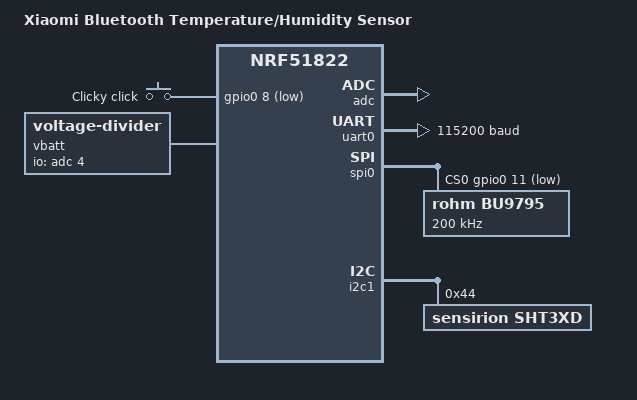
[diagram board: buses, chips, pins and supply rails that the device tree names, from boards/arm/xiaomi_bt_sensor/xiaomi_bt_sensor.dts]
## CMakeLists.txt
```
# SPDX-License-Identifier: Apache-2.0

cmake_minimum_required(VERSION 3.13.1)

# Must define custom board before including boilerplate
set(BOARD_ROOT ${CMAKE_CURRENT_LIST_DIR})
set(BOARD xiaomi_bt_sensor)

find_package(Zephyr REQUIRED HINTS $ENV{ZEPHYR_BASE})

project(xiaomi_bt_sensor_alternative_firmware)

#list(APPEND ZEPHYR_EXTRA_MODULES
#  ${CMAKE_CURRENT_SOURCE_DIR}/drivers/BU9795
#  )

#list(APPEND SYSCALL_INCLUDE_DIRS
#  ${CMAKE_CURRENT_SOURCE_DIR}/drivers/BU9795/zephyr
#  )

# Because our out of tree driver has it's own bindings, we need to include it in the DTS_ROOT
#list(APPEND DTS_ROOT
#  ${CMAKE_CURRENT_SOURCE_DIR}/drivers/BU9795/zephyr)

FILE(GLOB app_sources src/*.c)
target_sources(app PRIVATE ${app_sources})
```

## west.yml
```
manifest:
  remotes:
    - name: zephyrproject-rtos
      url-base: https://github.com/zephyrproject-rtos

  projects:
    - name: zephyr
      remote: zephyrproject-rtos
      revision: v3.5.0
      import: true

  self:
    path: app
```

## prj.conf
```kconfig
# Enable C++ support
CONFIG_CPP=y
CONFIG_STD_CPP17=y

CONFIG_LOG=n

CONFIG_BT=y
CONFIG_BT_PERIPHERAL=n
CONFIG_BT_OBSERVER=y
CONFIG_BT_DEVICE_NAME="BTHome template"


CONFIG_ADC=y

CONFIG_THREAD_LOCAL_STORAGE=y

CONFIG_BOOT_BANNER=n

CONFIG_COMMON_LIBC_MALLOC=y
CONFIG_COMMON_LIBC_MALLOC_ARENA_SIZE=-1
```

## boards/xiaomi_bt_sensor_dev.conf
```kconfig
CONFIG_SOC_NRF51822_QFAA=y
CONFIG_SOC_NRF51822_QFAC=n
```

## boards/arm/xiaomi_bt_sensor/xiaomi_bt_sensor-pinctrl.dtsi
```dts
/*
 * Copyright (c) 2022 Nordic Semiconductor
 * SPDX-License-Identifier: Apache-2.0
 */

&pinctrl {
	i2c1_default: i2c1_default {
		group1 {
			psels = <NRF_PSEL(TWIM_SDA, 0, 13)>,
					<NRF_PSEL(TWIM_SCL, 0, 12)>;
		};
	};

	i2c1_sleep: i2c1_sleep {
		group1 {
			psels = <NRF_PSEL(TWIM_SDA, 0, 13)>,
					<NRF_PSEL(TWIM_SCL, 0, 12)>;
			low-power-enable;
		};
	};

	spi0_default: spi0_default {
		group1 {
			psels = <NRF_PSEL(SPIM_SCK, 0, 10)>,
			        <NRF_PSEL(SPIM_MOSI, 0, 9)>,
			        <NRF_PSEL(SPIM_MISO, 0, 7)>;
		};
	};

	spi0_sleep: spi0_sleep {
		group1 {
			psels = <NRF_PSEL(SPIM_SCK, 0, 10)>,
			        <NRF_PSEL(SPIM_MOSI, 0, 9)>,
			        <NRF_PSEL(SPIM_MISO, 0, 7)>;
			low-power-enable;
		};
	};

	uart0_default: uart0_default {
		group1 {
			psels = <NRF_PSEL(UART_TX, 0, 28)>,
			        <NRF_PSEL(UART_RX, 0, 29)>,
			        <NRF_PSEL(UART_RTS, 0, 26)>,
			        <NRF_PSEL(UART_CTS, 0, 27)>;
		};
	};

	uart0_sleep: uart0_sleep {
		group1 {
			psels = <NRF_PSEL(UART_TX, 0, 28)>,
			        <NRF_PSEL(UART_RX, 0, 29)>,
			        <NRF_PSEL(UART_RTS, 0, 26)>,
			        <NRF_PSEL(UART_CTS, 0, 27)>;
			low-power-enable;
		};
	};

};
```

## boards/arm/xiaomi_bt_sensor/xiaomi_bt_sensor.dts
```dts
/*
 * Copyright (c) 2017 VNG IoT Lab Limited
 *
 * SPDX-License-Identifier: Apache-2.0
 */

/dts-v1/;
#include <nordic/nrf51822_qfaa.dtsi>
#include "xiaomi_bt_sensor-pinctrl.dtsi"
#include <zephyr/dt-bindings/input/input-event-codes.h>

/ {
	model = "Xiaomi Bluetooth Temperature/Humidity Sensor";
	compatible = "nordic,nrf51822-qfaa", "nordic,nrf51822";

	chosen {
		zephyr,console = &uart0;
		zephyr,shell-uart = &uart0;
		zephyr,uart-mcumgr = &uart0;
		zephyr,sram = &sram0;
		zephyr,flash = &flash0;
	};

	aliases {
		sw0 = &button0;
		segment0 = &segment0;
		sensor0 = &sensor0;
		vbatt = &vbatt;
	};

	buttons {
		compatible = "gpio-keys";
		button0: button_0 {
			gpios = <&gpio0 8 (GPIO_ACTIVE_LOW | GPIO_PULL_UP)>;
			label = "Clicky click";
			zephyr,code = <INPUT_KEY_0>;
		};
	};

	vbatt: vbatt {
		compatible = "voltage-divider";
		io-channels = <&adc 4>;
		output-ohms = <180000>;
		full-ohms = <(180000 + 180000)>;
	};
};

&adc {
	status = "okay";
};

&gpiote {
	status = "okay";
};

&gpio0 {
	status = "okay";
};

&uart0 {
	current-speed = <115200>;
	status = "okay";
	pinctrl-0 = <&uart0_default>;
	pinctrl-1 = <&uart0_sleep>;
	pinctrl-names = "default", "sleep";
};

&spi0 {
	compatible = "nordic,nrf-spi";
	status = "okay";
	cs-gpios = <&gpio0 11 GPIO_ACTIVE_LOW>;
	pinctrl-0 = <&spi0_default>;
	pinctrl-1 = <&spi0_sleep>;
	pinctrl-names = "default", "sleep";

	segment0: segment@0 {
		compatible = "rohm,bu9795";
		status = "okay";
		spi-max-frequency = <200000>;
		label = "BU9795";
		reg = <0>;
	};
};

&i2c1 {
	status = "okay";
	/* smba-pin = <2>; */
	pinctrl-0 = <&i2c1_default>;
	pinctrl-1 = <&i2c1_sleep>;
	pinctrl-names = "default", "sleep";

	sensor0: sht3xd@44 {
		compatible = "sensirion,sht3xd";
		status = "okay";
		label = "SHT3XD";
		reg = <0x44>;
	};
};

&flash0 {
	/*
	 * For more information, see:
	 * http: //docs.zephyrproject.org/latest/guides/dts/index.html#flash-partitions
	 */
	partitions {
		compatible = "fixed-partitions";
		#address-cells = <1>;
		#size-cells = <1>;

		boot_partition: partition@0 {
			label = "mcuboot";
			reg = <0x00000000 0x8000>;
		};
		slot0_partition: partition@8000 {
			label = "image-0";
			reg = <0x00008000 0x1a000>;
		};
		slot1_partition: partition@22000 {
			label = "image-1";
			reg = <0x00022000 0x1a000>;
		};
		scratch_partition: partition@3c000 {
			label = "image-scratch";
			reg = <0x0003c000 0x2000>;
		};
		storage_partition: partition@3e000 {
			label = "storage";
			reg = <0x0003e000 0x00002000>;
		};
	};
};
```

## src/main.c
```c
/* main.c - Application main entry point */

#include <stdio.h>

#include <zephyr/bluetooth/bluetooth.h>
#include <zephyr/device.h>
#include <zephyr/drivers/gpio.h>
#include <zephyr/drivers/sensor.h>
#include <zephyr/kernel.h>
#include <zephyr/sys/printk.h>

#include <zephyr/logging/log.h>
LOG_MODULE_REGISTER(main, LOG_LEVEL_DBG);

// #include "battery.h"
// #include "bluetooth.h"
// #include "display.h"
#include "sensor.h"

static bool allow_bonding = false;

/*
 * Get button configuration from the devicetree sw0 alias. This is mandatory.
 */
#define SW0_NODE DT_ALIAS(sw0)
#if !DT_NODE_HAS_STATUS(SW0_NODE, okay)
#error "Unsupported board: sw0 devicetree alias is not defined"
#endif
static const struct gpio_dt_spec button = GPIO_DT_SPEC_GET_OR(SW0_NODE, gpios,
                                                              {0});
static struct gpio_callback button_cb_data;

void button_pressed(struct device *dev, struct gpio_callback *cb, uint32_t pins)
{
    LOG_INF("Button pressed at %" PRIu32, k_cycle_get_32());
    allow_bonding = true;
}

void main(void)
{
    int ret;
    bool bluetooth_enabled = false;
    uint32_t loop_count = 0;

    LOG_INF("Hello world!");

    if (!gpio_is_ready_dt(&button))
    {
        LOG_ERR("Didn't find %s device", button.port->name);
        return;
    }
    ret = gpio_pin_configure_dt(&button, GPIO_INPUT);
    if (ret != 0)
    {
        LOG_ERR("Failed to configure pin %d '%s' (Error %d)", button.pin, button.port->name, ret);
        return;
    }

    ret = gpio_pin_interrupt_configure_dt(&button, GPIO_INT_EDGE_TO_ACTIVE);
    if (ret != 0)
    {
        LOG_ERR("Failed to configure interrupt on pin %d '%s' (Error %d)", button.pin, button.port->name, ret);
        return;
    }

    gpio_init_callback(&button_cb_data, button_pressed, BIT(button.pin));
    gpio_add_callback(button.port, &button_cb_data);

    ret = bt_enable(NULL);
    if (ret != 0)
    {
        LOG_ERR("Bluetooth init failed (Error %d)", ret);
    }
    else
    {
        // bluetooth_ready();
        bluetooth_enabled = true;
    }

    LOG_INF("Press %s on the board", button.port->name);

    struct sensor_value temp, hum;

    // display_set_symbols(DISPLAY_SYMBOL_HORIZONTAL_RULE);

    while (1)
    {
        if (bluetooth_enabled)
        {
            if (allow_bonding)
            {
                // bluetooth_set_bonding(true);
                allow_bonding = false;
            }

            /* if (bluetooth_get_bonding() && (loop_count % 2 == 0))
             {
                 // display_clear_symbols(DISPLAY_SYMBOL_BLUETOOTH);
             }
             else
             {
                 // display_set_symbols(DISPLAY_SYMBOL_BLUETOOTH);
             }*/
        }
        /* int batt_mV = battery_sample();

         if (batt_mV >= 0)
         {
             int batt_pptt = battery_level_pptt(batt_mV, alkaline_level_point) / 100;
             LOG_INF("Battery: %d%% (%d.%03dV)", batt_pptt, batt_mV / 1000, batt_mV % 1000);

             display_set_battery(batt_pptt);
             bluetooth_update_battery(batt_pptt);
         }
         else
         {
             LOG_ERR("Failed to read battery voltage: %d", batt_mV);
         }

         if (update_sensor(&temp, &hum) == 0)
         {
             LOG_INF("Sensor: %d.%d°C, %d.%d%%RH",
                     temp.val1, temp.val2 / 100000,
                     hum.val1, hum.val2 / 100000);

             display_set_symbols(DISPLAY_SYMBOL_CELSIUS | DISPLAY_SYMBOL_HUMIDITY);
             display_set_temperature(&temp);
             display_set_humidity(&hum);

             bluetooth_update_temperature((temp.val1 * 100) + (temp.val2 / 10000));
             bluetooth_update_humidity((hum.val1 * 100) + (hum.val2 / 10000));
         }*/

        k_msleep(1000);
        loop_count++;
    }
}
```

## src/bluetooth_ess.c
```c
#include <errno.h>
#include <stddef.h>
#include <string.h>
#include <sys/byteorder.h>
#include <sys/printk.h>
#include <zephyr.h>
#include <zephyr/types.h>

#include <bluetooth/bluetooth.h>
#include <bluetooth/conn.h>
#include <bluetooth/gatt.h>
#include <bluetooth/hci.h>
#include <bluetooth/services/bas.h>
#include <bluetooth/uuid.h>

#include <logging/log.h>
LOG_MODULE_REGISTER(bluetooth_ess_service, LOG_LEVEL_INF);

// ESS error definitions
#define ESS_ERR_WRITE_REJECT 0x80
#define ESS_ERR_COND_NOT_SUPP 0x81

// ESS Trigger Setting conditions
#define ESS_TRIGGER_INACTIVE 0x00
#define ESS_FIXED_TIME_INTERVAL 0x01
#define ESS_NO_LESS_THAN_SPECIFIED_TIME 0x02
#define ESS_VALUE_CHANGED 0x03
#define ESS_LESS_THAN_REF_VALUE 0x04
#define ESS_LESS_OR_EQUAL_TO_REF_VALUE 0x05
#define ESS_GREATER_THAN_REF_VALUE 0x06
#define ESS_GREATER_OR_EQUAL_TO_REF_VALUE 0x07
#define ESS_EQUAL_TO_REF_VALUE 0x08
#define ESS_NOT_EQUAL_TO_REF_VALUE 0x09

#define ESS_MEASUREMENT_FLAG_NOTIFY_MEASUREMENT BIT(1)

extern struct bt_conn *default_conn;

struct es_measurement
{
    // Reserved for Future Use
    uint16_t flags;
    uint8_t sampling_func;
    uint32_t meas_period;
    uint32_t update_interval;
    uint8_t application;
    uint8_t meas_uncertainty;
};

struct ess_sensor
{
    int16_t value;

    // Valid Range
    int16_t lower_limit;
    int16_t upper_limit;

    // ES trigger setting - Value Notification condition
    uint8_t condition;
    uint16_t ccc;
    union
    {
        uint32_t seconds;
        // Reference temperature
        int16_t ref_val;
    };

    struct es_measurement meas;
};

#define SENSOR_TEMPERATURE_NAME "Temperature"

static struct ess_sensor sensor_temp = {
    .value = 1200,
    .lower_limit = 0,
    .upper_limit = 6500,
    .condition = ESS_VALUE_CHANGED,
    .meas.sampling_func = 0x01,
    .meas.meas_period = 0x00,
    .meas.update_interval = 1,
    .meas.application = 0x01,
    .meas.meas_uncertainty = 0x01,
};

#define SENSOR_Humidity_NAME "Humidity"

static struct ess_sensor sensor_humid = {
    .value = 5000,
    .lower_limit = 0,
    .upper_limit = 10000,
    .condition = ESS_VALUE_CHANGED,
    .meas.sampling_func = 0x01,
    .meas.meas_period = 0x00,
    .meas.update_interval = 1,
    .meas.application = 0x01,
    .meas.meas_uncertainty = 0x01,
};

static ssize_t read_u16(struct bt_conn *conn, const struct bt_gatt_attr *attr, void *buf, uint16_t len, uint16_t offset)
{
    const uint16_t *u16 = attr->user_data;
    uint16_t value = sys_cpu_to_le16(*u16);

    return bt_gatt_attr_read(conn, attr, buf, len, offset, &value, sizeof(value));
}

static void humid_ccc_cfg_changed(const struct bt_gatt_attr *attr, uint16_t value)
{
    sensor_humid.ccc = value;
}
static void temp_ccc_cfg_changed(const struct bt_gatt_attr *attr, uint16_t value)
{
    sensor_temp.ccc = value;
}

struct read_es_measurement_rp
{
    // Reserved for Future Use
    uint16_t flags;
    uint8_t sampling_function;
    uint8_t measurement_period[3];
    uint8_t update_interval[3];
    uint8_t application;
    uint8_t measurement_uncertainty;
} __packed;

static ssize_t read_es_measurement(struct bt_conn *conn, const struct bt_gatt_attr *attr, void *buf, uint16_t len, uint16_t offset)
{
    const struct es_measurement *value = attr->user_data;
    struct read_es_measurement_rp rsp;

    rsp.flags = sys_cpu_to_le16(value->flags);
    rsp.sampling_function = value->sampling_func;
    sys_put_le24(value->meas_period, rsp.measurement_period);
    sys_put_le24(value->update_interval, rsp.update_interval);
    rsp.application = value->application;
    rsp.measurement_uncertainty = value->meas_uncertainty;

    return bt_gatt_attr_read(conn, attr, buf, len, offset, &rsp, sizeof(rsp));
}

static ssize_t read_ess_valid_range(struct bt_conn *conn, const struct bt_gatt_attr *attr, void *buf, uint16_t len, uint16_t offset)
{
    const struct ess_sensor *sensor = attr->user_data;
    uint16_t tmp[] = {
        sys_cpu_to_le16(sensor->lower_limit),
        sys_cpu_to_le16(sensor->upper_limit)};

    return bt_gatt_attr_read(conn, attr, buf, len, offset, tmp, sizeof(tmp));
}

struct es_trigger_setting_seconds
{
    uint8_t condition;
    uint8_t sec[3];
} __packed;

struct es_trigger_setting_reference
{
    uint8_t condition;
    int16_t ref_val;
} __packed;

static ssize_t read_ess_trigger_setting(struct bt_conn *conn, const struct bt_gatt_attr *attr, void *buf, uint16_t len, uint16_t offset)
{
    const struct ess_sensor *sensor = attr->user_data;
    struct es_trigger_setting_reference settings_reference;
    struct es_trigger_setting_seconds settings_seconds;

    switch (sensor->condition)
    {
    // Operand N/A
    case ESS_TRIGGER_INACTIVE: // fallthrough
    case ESS_VALUE_CHANGED:
        return bt_gatt_attr_read(conn, attr, buf, len, offset, &sensor->condition, sizeof(sensor->condition));
    // Seconds
    case ESS_FIXED_TIME_INTERVAL: // fallthrough
    case ESS_NO_LESS_THAN_SPECIFIED_TIME:

        settings_seconds.condition = sensor->condition;
        sys_put_le24(sensor->seconds, settings_seconds.sec);

        return bt_gatt_attr_read(conn, attr, buf, len, offset, &settings_seconds, sizeof(settings_seconds));

    // Reference temperature
    default:

        settings_reference.condition = sensor->condition;
        settings_reference.ref_val = sys_cpu_to_le16(sensor->ref_val);

        return bt_gatt_attr_read(conn, attr, buf, len, offset, &settings_reference, sizeof(settings_reference));
    }
}

static bool check_condition(uint8_t condition, int16_t old_val, int16_t new_val, int16_t ref_val)
{
    switch (condition)
    {
    case ESS_TRIGGER_INACTIVE:
        return false;
    case ESS_FIXED_TIME_INTERVAL:
    case ESS_NO_LESS_THAN_SPECIFIED_TIME:
        // TODO: Check time requirements
        return false;
    case ESS_VALUE_CHANGED:
        return new_val != old_val;
    case ESS_LESS_THAN_REF_VALUE:
        return new_val < ref_val;
    case ESS_LESS_OR_EQUAL_TO_REF_VALUE:
        return new_val <= ref_val;
    case ESS_GREATER_THAN_REF_VALUE:
        return new_val > ref_val;
    case ESS_GREATER_OR_EQUAL_TO_REF_VALUE:
        return new_val >= ref_val;
    case ESS_EQUAL_TO_REF_VALUE:
        return new_val == ref_val;
    case ESS_NOT_EQUAL_TO_REF_VALUE:
        return new_val != ref_val;
    default:
        return false;
    }
}

static void update_ess_value(struct bt_conn *conn, const struct bt_gatt_attr *chrc, int16_t value, struct ess_sensor *sensor)
{
    if (sensor == &sensor_temp)
    {
        LOG_DBG("Updating temperature");
    }
    else if (sensor == &sensor_humid)
    {
        LOG_DBG("Updating humidity");
    }
    else
    {
        LOG_DBG("I don't know what i'm updateing 🤷‍♀️");
    }

    bool notify = check_condition(sensor->condition, sensor->value, value, sensor->ref_val);
    LOG_DBG("Condition: %02X, Ref: %d, Old Value: %d, New Value: %d => %s", sensor->condition, sensor->ref_val, sensor->value, value, notify ? "true" : "false");

    // Update temperature value
    sensor->value = value;

    // Trigger notification if conditions are met
    if (notify)
    {
        if (sensor->ccc == BT_GATT_CCC_NOTIFY)
        {
            value = sys_cpu_to_le16(sensor->value);

            bt_gatt_notify(conn, chrc, &value, sizeof(value));
        }
    }
}

BT_GATT_SERVICE_DEFINE(ess,
                       BT_GATT_PRIMARY_SERVICE(BT_UUID_ESS),

                       // Temperature Sensor
                       BT_GATT_CHARACTERISTIC(BT_UUID_TEMPERATURE,
                                              BT_GATT_CHRC_READ | BT_GATT_CHRC_NOTIFY,
                                              BT_GATT_PERM_READ_ENCRYPT,
                                              read_u16, NULL, &sensor_temp.value),
                       BT_GATT_DESCRIPTOR(BT_UUID_ES_MEASUREMENT, BT_GATT_PERM_READ_ENCRYPT,
                                          read_es_measurement, NULL, &sensor_temp.meas),
                       BT_GATT_CUD(SENSOR_TEMPERATURE_NAME, BT_GATT_PERM_READ_ENCRYPT),
                       BT_GATT_DESCRIPTOR(BT_UUID_VALID_RANGE, BT_GATT_PERM_READ_ENCRYPT,
                                          read_ess_valid_range, NULL, &sensor_temp),
                       BT_GATT_DESCRIPTOR(BT_UUID_ES_TRIGGER_SETTING,
                                          BT_GATT_PERM_READ_ENCRYPT, read_ess_trigger_setting,
                                          NULL, &sensor_temp),
                       BT_GATT_CCC(temp_ccc_cfg_changed,
                                   BT_GATT_PERM_READ_ENCRYPT | BT_GATT_PERM_WRITE_ENCRYPT),

                       // Humidity Sensor
                       BT_GATT_CHARACTERISTIC(BT_UUID_HUMIDITY,
                                              BT_GATT_CHRC_READ | BT_GATT_CHRC_NOTIFY,
                                              BT_GATT_PERM_READ_ENCRYPT,
                                              read_u16, NULL, &sensor_humid.value),
                       BT_GATT_DESCRIPTOR(BT_UUID_ES_MEASUREMENT, BT_GATT_PERM_READ_ENCRYPT,
                                          read_es_measurement, NULL, &sensor_humid.meas),
                       BT_GATT_CUD(SENSOR_Humidity_NAME, BT_GATT_PERM_READ_ENCRYPT),
                       BT_GATT_DESCRIPTOR(BT_UUID_VALID_RANGE, BT_GATT_PERM_READ_ENCRYPT,
                                          read_ess_valid_range, NULL, &sensor_humid),
                       BT_GATT_DESCRIPTOR(BT_UUID_ES_TRIGGER_SETTING,
                                          BT_GATT_PERM_READ_ENCRYPT, read_ess_trigger_setting,
                                          NULL, &sensor_humid),
                       BT_GATT_CCC(humid_ccc_cfg_changed,
                                   BT_GATT_PERM_READ_ENCRYPT | BT_GATT_PERM_WRITE_ENCRYPT), );

void bluetooth_update_temperature(uint16_t value)
{
    update_ess_value(default_conn, &ess.attrs[2], value, &sensor_temp);
}

void bluetooth_update_humidity(uint16_t value)
{
    update_ess_value(default_conn, &ess.attrs[8], value, &sensor_humid);
}
```

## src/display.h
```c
#pragma once

#include <zephyr/drivers/sensor.h>
#include <zephyr/types.h>

enum display_symbols
{
    DISPLAY_SYMBOL_TEMPERATURE_DECIMAL = 0x01,
    DISPLAY_SYMBOL_BLUETOOTH = 0x02,
    DISPLAY_SYMBOL_CELSIUS = 0x04,
    DISPLAY_SYMBOL_HORIZONTAL_RULE = 0x08,
    DISPLAY_SYMBOL_HUMIDITY_DECIMAL = 0x10,
    DISPLAY_SYMBOL_HUMIDITY = 0x20,
    DISPLAY_SYMBOL_ALL = 0xFF,

};

int display_set_temperature(const struct sensor_value *value);
int display_set_humidity(const struct sensor_value *value);
int display_set_battery(int percent);
int display_set_symbols(uint8_t symbols);
int display_clear_symbols(uint8_t symbols);
```

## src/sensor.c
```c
#include <zephyr/device.h>
#include <zephyr/drivers/sensor.h>
#include <zephyr/init.h>
#include <zephyr/kernel.h>

#include <zephyr/logging/log.h>
LOG_MODULE_REGISTER(sensor, LOG_LEVEL_INF);

struct device *dev_sensor = NULL;

int update_sensor(struct sensor_value *temp, struct sensor_value *hum)
{
    if (dev_sensor == NULL)
    {
        return -ENOENT;
    }

    LOG_DBG("Fetching sensor data");
    int ret = sensor_sample_fetch(dev_sensor);
    if (ret)
    {
        LOG_ERR("Could not get fetch sample from %s, errno: %d", dev_sensor->config->name, ret);
        return ret;
    }

    LOG_DBG("Getting SENSOR_CHAN_AMBIENT_TEMP");
    ret = sensor_channel_get(dev_sensor, SENSOR_CHAN_AMBIENT_TEMP, temp);
    if (ret)
    {
        LOG_ERR("Could not get SENSOR_CHAN_AMBIENT_TEMP from %s, errno: %d", dev_sensor->config->name, ret);
        return ret;
    }

    LOG_DBG("Getting SENSOR_CHAN_HUMIDITY");
    ret = sensor_channel_get(dev_sensor, SENSOR_CHAN_HUMIDITY, hum);
    if (ret)
    {
        LOG_ERR("Could not get SENSOR_CHAN_HUMIDITY from %s, errno: %d", dev_sensor->config->name, ret);
        return ret;
    }

    LOG_DBG("Sensor updated");

    return 0;
}

static int sensor_init(struct device *dev)
{
    ARG_UNUSED(dev);

    dev_sensor = device_get_binding(DT_ALIAS_SENSOR0_LABEL);
    if (dev_sensor == NULL)
    {
        LOG_ERR("Didn't find %s device", DT_ALIAS_SENSOR0_LABEL);
    }

    return 0;
}

SYS_INIT(sensor_init, APPLICATION, CONFIG_APPLICATION_INIT_PRIORITY);
```
